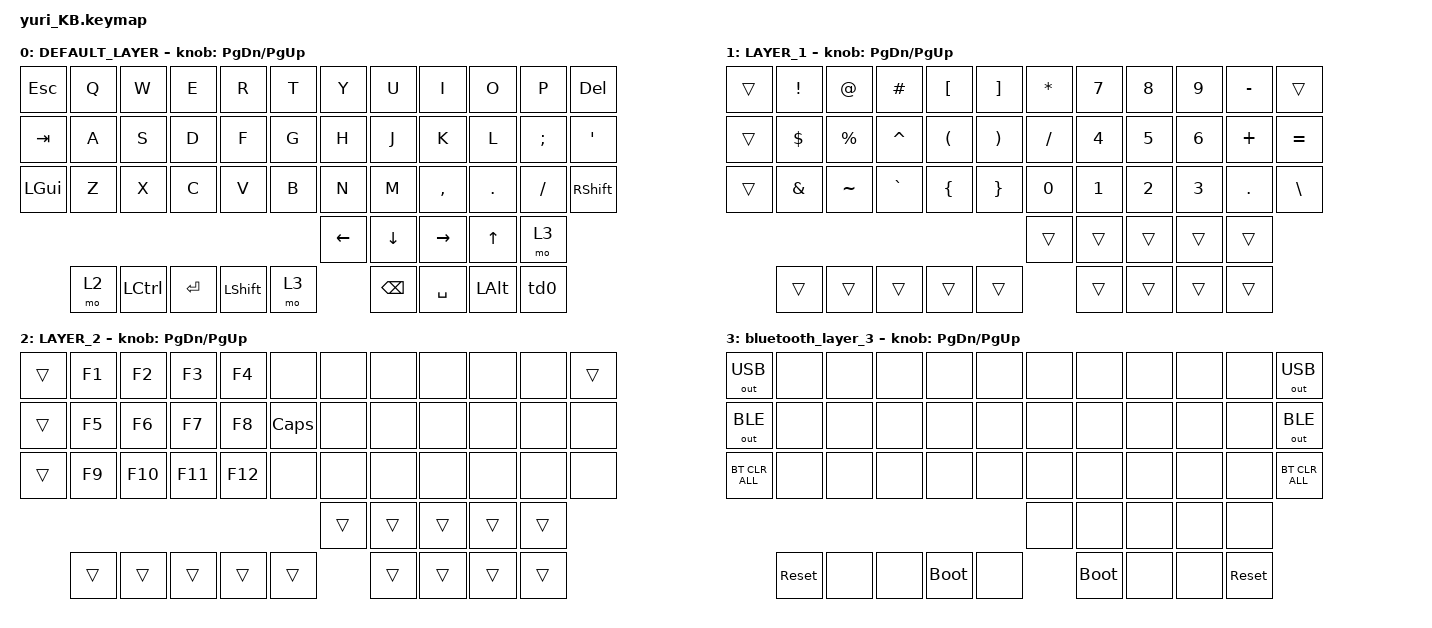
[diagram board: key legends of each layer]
#include <behaviors.dtsi>
#include <dt-bindings/zmk/keys.h>
#include <dt-bindings/zmk/bt.h>
#include <dt-bindings/zmk/outputs.h>

/ {
        td0: tap_dance_0 {
            compatible = "zmk,behavior-tap-dance";
            #binding-cells = <0>;
            tapping-term-ms = <200>;
            bindings = <&to 0>, <&to 1>;
        };

    keymap {
        compatible = "zmk,keymap";

// -------------------------------------------------------------------------------------------------------------------------------------------
        DEFAULT_LAYER {
            bindings = <
    &kp ESC    &kp Q    &kp W    &kp E     &kp R     &kp T              &kp Y    	&kp U     	&kp I     	&kp O     &kp P    	&kp DELETE
    &kp TAB    &kp A    &kp S    &kp D     &kp F     &kp G              &kp H     	&kp J     	&kp K     	&kp L     &kp SEMI 	&kp SINGLE_QUOTE
    &kp LGUI   &kp Z    &kp X    &kp C     &kp V     &kp B              &kp N     	&kp M     	&kp COMMA 	&kp DOT   &kp FSLH 	&kp RSHFT 

                                                                        &kp LEFT  	&kp DOWN  	&kp RIGHT 	&kp UP    &mo 3
               &mo 2   &kp LCTRL &kp RET   &kp LSHFT &mo 3                      	&kp BSPC    &kp SPACE   &kp LALT  &td0
            >;

            sensor-bindings = < &inc_dec_kp PG_DN PG_UP
            >;
        };

// -------------------------------------------------------------------------------------------------------------------------------------------
        LAYER_1 {
            bindings = <
    &trans	&kp EXCL    &kp AT    	&kp HASH    &kp LBKT    &kp RBKT          	&kp STAR    &kp N7     	&kp N8     	&kp N9     	&kp MINUS   &trans
    &trans  &kp DOLLAR  &kp PRCNT   &kp CARET   &kp LPAR    &kp RPAR           	&kp SLASH  	&kp N4     	&kp N5     	&kp N6     	&kp PLUS 	&kp EQUAL
    &trans  &kp AMPS    &kp TILDE   &kp GRAVE	&kp LBRC    &kp RBRC           	&kp N0     	&kp N1     	&kp N2 		&kp N3   	&kp DOT 	&kp BACKSLASH

                                                                        		&trans  	&trans  	&trans 	    &trans      &trans
            &trans 	    &trans 	    &trans  	&trans 	    &trans                      	&trans      &trans 	    &trans  	&trans
            >;

            sensor-bindings = < &inc_dec_kp PG_DN PG_UP
            >;
        };

// -------------------------------------------------------------------------------------------------------------------------------------------
        LAYER_2 {
            bindings = <
    &trans	&kp F1    	&kp F2    	&kp F3     	&kp F4     	&none          		&none     	&none     	&none     	&none     	&none    	&trans
    &trans   &kp F5    	&kp F6    	&kp F7     	&kp F8     	&kp CAPS           	&none     	&none     	&none     	&none     	&none 		&none
    &trans   &kp F9    	&kp F10    	&kp F11     &kp F12     &none           	&none     	&none     	&none     	&none     	&none	 	&none

                                                                        			&trans  	&trans  	&trans 	&trans   &trans
               	&trans 	&trans 	&trans  	&trans	 	&trans                      &trans   	&trans 	&trans  	&trans
            >;

            sensor-bindings = < &inc_dec_kp PG_DN PG_UP
            >;
        };

// -------------------------------------------------------------------------------------------------------------------------------------------
        bluetooth_layer_3 {
            bindings = <
    &out OUT_USB	&none    	&none    	&none     	&none     	&none          		&none     	&none     	&none     	&none     	&none    	&out OUT_USB
    &out OUT_BLE   	&none    	&none    	&none     	&none     	&none          		&none     	&none     	&none     	&none     	&none 		&out OUT_BLE
    &bt BT_CLR_ALL  &none    	&none    	&none     	&none     	&none          		&none     	&none     	&none     	&none     	&none 		&bt BT_CLR_ALL

                                                                        				&none 		&none 		&none  		&none	 	&none
               		&sys_reset 		&none 		&none  		&bootloader	 	&none                        	&bootloader 		&none 		&none  		&sys_reset
            >;

            sensor-bindings = < &inc_dec_kp PG_DN PG_UP
            >;
        };
    };
};
